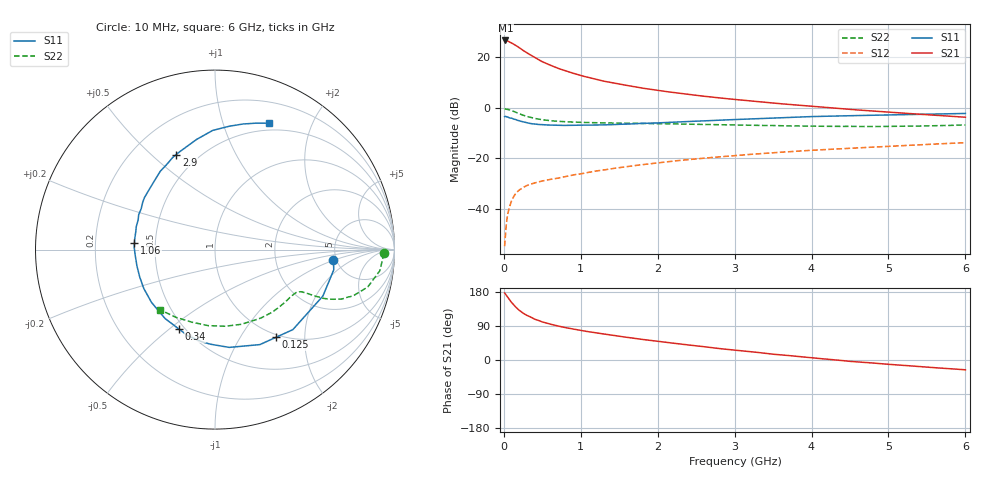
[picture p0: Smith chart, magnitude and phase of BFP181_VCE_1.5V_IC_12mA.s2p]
! Infineon Technologies  Discrete & RF Semiconductors
! BFP181
! VCE = 1.5 V,  IC =  12 mA
! Common Emitter S-Parameters:  Jan 2016
# GHz  S  MA  R  50
!  f  S11  S21  S12  S22
! GHz  MAG  ANG  MAG  ANG  MAG  ANG  MAG  ANG
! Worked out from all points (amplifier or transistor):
!   210 points, 10 MHz to 6 GHz, reference 50 ohm
!   highest |S21| = 26.6 dB at 20 MHz (marker M1)
!   |S21| within 3 dB of that: start of sweep to 207.1 MHz
!   unconditionally stable (mu >= 1): 602.4 MHz to end of sweep
!   at 185 MHz: K = 0.43, MSG = 28.6 dB, |S12| = -33.1 dB
!   at 1.52 GHz: K = 1.43, MAG = 12.5 dB, |S12| = -23.7 dB
!   at 6 GHz: K = 1.16, MAG = 2.7 dB, |S12| = -13.9 dB
!   S11 on the Smith chart (normalised r, x): 10 MHz: 4.72, -0.95; 125 MHz: 0.96, -1.45; 340 MHz: 0.47, -0.54; 1.06 GHz: 0.38, +0.04; 2.9 GHz: 0.38, +0.60; 6 GHz: 0.42, +1.43
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0.01  0.6622 -4.9  21.39 177.0  0.0018 76.6  0.9419 -1.3
0.02  0.6712 -9.7  21.4 174.4  0.0029 80.6  0.9371 -2.9
0.05  0.6544 -23.3  20.9 165.4  0.0077 81.1  0.9252 -7.4
0.1  0.622 -45.8  19.18 151.9  0.0143 68.8  0.8765 -13.7
0.125  0.5955 -55.0  18.18 146.4  0.0169 64.8  0.845 -15.9
0.15  0.5854 -64.7  17.35 140.4  0.0196 61.8  0.8149 -18.3
0.2  0.5507 -81.7  15.42 131.1  0.0233 56.6  0.7576 -21.3
0.26  0.5192 -97.9  13.3 122.4  0.0266 52.4  0.6988 -23.3
0.34  0.486 -114.5  11.19 114.2  0.0301 50.0  0.6445 -24.4
0.4  0.4742 -125.9  9.838 107.7  0.0322 48.5  0.6109 -25.0
0.5  0.4602 -140.2  8.111 100.4  0.0352 46.5  0.5749 -25.3
0.6  0.452 -151.4  6.958 94.7  0.0377 47.5  0.5515 -25.7
0.8  0.4444 -168.1  5.357 85.4  0.043 48.2  0.5251 -26.6
1.02  0.4498 177.6  4.242 77.4  0.0494 49.7  0.5095 -28.3
1.06  0.4501 175.3  4.097 76.0  0.0507 49.8  0.5076 -28.7
1.5  0.4676 155.4  2.927 62.5  0.0648 50.7  0.4922 -34.0
2.02  0.4993 136.2  2.164 48.8  0.0812 49.3  0.4801 -41.9
2.9  0.5719 112.2  1.502 28.1  0.1089 44.7  0.4554 -57.9
3.1  0.5867 107.6  1.405 24.1  0.1152 43.4  0.4487 -62.0
4.1  0.6687 89.5  1.033 4.0  0.1455 36.0  0.428 -84.9
5.1  0.7212 76.4  0.794 -12.8  0.174 28.5  0.425 -110.1
6  0.7661 66.9  0.645 -25.9  0.2017 21.0  0.4538 -132.4
